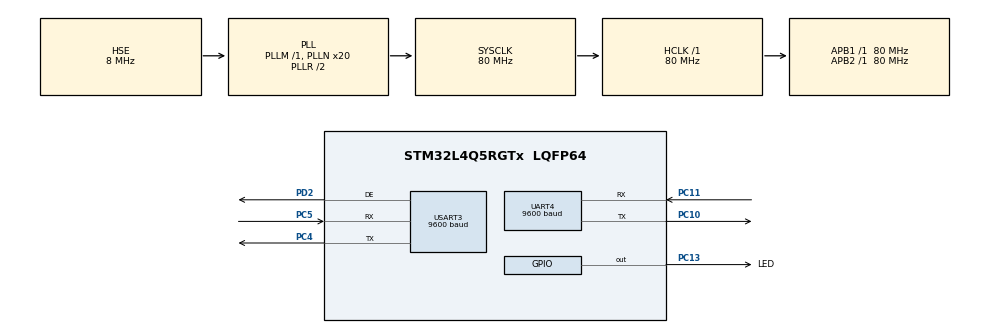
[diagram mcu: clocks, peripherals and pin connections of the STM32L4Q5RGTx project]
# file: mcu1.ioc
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Mcu.Family=STM32L4
Mcu.Name=STM32L4Q5RGTx
Mcu.Package=LQFP64
NVIC.PriorityGroup=NVIC_PRIORITYGROUP_4
NVIC.UART4_IRQn=true\:0\:0\:false\:false\:true\:true\:true\:true
NVIC.USART3_IRQn=true\:0\:0\:false\:false\:true\:true\:true\:true
PA13\ (JTMS/SWDIO).Mode=Serial_Wire
PA13\ (JTMS/SWDIO).Signal=SYS_JTMS-SWDIO
PA14\ (JTCK/SWCLK).Mode=Serial_Wire
PA14\ (JTCK/SWCLK).Signal=SYS_JTCK-SWCLK
PC10.GPIO_PuPd=GPIO_PULLUP
PC10.Mode=Asynchronous
PC10.Signal=UART4_TX
PC11.GPIO_PuPd=GPIO_PULLDOWN
PC11.Mode=Asynchronous
PC11.Signal=UART4_RX
PC13.GPIO_Label=LED
PC13.PinState=GPIO_PIN_SET
PC13.Signal=GPIO_Output
PC4.GPIO_PuPd=GPIO_PULLUP
PC4.Mode=Asynchronous
PC4.Signal=USART3_TX
PC5.GPIO_PuPd=GPIO_PULLUP
PC5.Mode=Asynchronous
PC5.Signal=USART3_RX
PD2.Mode=Hardware Flow Control (RS485)
PD2.Signal=USART3_DE
PH0-OSC_IN\ (PH0).Mode=HSE-External-Oscillator
PH0-OSC_IN\ (PH0).Signal=RCC_OSC_IN
PH1-OSC_OUT\ (PH1).Mode=HSE-External-Oscillator
PH1-OSC_OUT\ (PH1).Signal=RCC_OSC_OUT
ProjectManager.HeapSize=0x200
ProjectManager.StackSize=0x400
ProjectManager.TargetToolchain=STM32CubeIDE
RCC.ADCFreq_Value=32000000
RCC.AHBFreq_Value=80000000
RCC.APB1Freq_Value=80000000
RCC.APB1TimFreq_Value=80000000
RCC.APB2Freq_Value=80000000
RCC.APB2TimFreq_Value=80000000
RCC.CortexFreq_Value=80000000
RCC.EnbaleCSS=true
RCC.HCLKFreq_Value=80000000
RCC.HSE_VALUE=8000000
RCC.HSI48_VALUE=48000000
RCC.HSI_VALUE=16000000
RCC.LSE_VALUE=32768
RCC.MSI_VALUE=4000000
RCC.PLLN=20
RCC.PLLSourceVirtual=RCC_PLLSOURCE_HSE
RCC.SYSCLKFreq_VALUE=80000000
RCC.SYSCLKSource=RCC_SYSCLKSOURCE_PLLCLK
RCC.USBFreq_Value=32000000
RCC.VCOOutputFreq_Value=160000000
UART4.BaudRate=9600
UART4.SwapParam=UART_ADVFEATURE_SWAP_ENABLE
USART3.BaudRate=9600
USART3.VirtualMode-Asynchronous=VM_ASYNC
USART3.VirtualMode-Hardware\ Flow\ Control\ (RS485)=VM_ASYNC
board=custom

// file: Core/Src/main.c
/* USER CODE BEGIN Header */
/**
  ******************************************************************************
  * @file           : main.c
  * @brief          : Main program body
  ******************************************************************************
  * @attention
  *
  * Copyright (c) 2025 STMicroelectronics.
  * All rights reserved.
  *
  * This software is licensed under terms that can be found in the LICENSE file
  * in the root directory of this software component.
  * If no LICENSE file comes with this software, it is provided AS-IS.
  *
  ******************************************************************************
  */
/* USER CODE END Header */
#include "main.h"

/* USER CODE BEGIN Includes */
#include <string.h>
#include <stdlib.h>
#include <stdio.h>
#define L
/* USER CODE END Includes */

UART_HandleTypeDef huart4;
UART_HandleTypeDef huart3;

/* USER CODE BEGIN PV */
volatile uint8_t uart4_data_ready = 0;
volatile uint8_t uart3_cmd_ready = 0;
/* USER CODE END PV */

void SystemClock_Config(void);
static void MX_GPIO_Init(void);
static void MX_UART4_Init(void);
static void MX_USART3_UART_Init(void);

/* USER CODE BEGIN 0 */
void HAL_UART_RxCpltCallback(UART_HandleTypeDef *huart) {
	if (huart == &huart3) {
	        uart3_cmd_ready = 1;
	        HAL_GPIO_TogglePin(LED_GPIO_Port, LED_Pin);
	    }
	else if (huart == &huart4) {
        uart4_data_ready = 1;
        //HAL_GPIO_TogglePin(LED_GPIO_Port, LED_Pin);
    }

}
/* USER CODE END 0 */

int main(void)
{

  /* MCU Configuration--------------------------------------------------------*/

  /* Reset of all peripherals, Initializes the Flash interface and the Systick. */
  HAL_Init();

  /* Configure the system clock */
  SystemClock_Config();

  /* Initialize all configured peripherals */
  MX_GPIO_Init();
  MX_UART4_Init();
  MX_USART3_UART_Init();

  /* Infinite loop */
  /* USER CODE BEGIN WHILE */
#ifdef L
  char str[100] = {0};
  uint8_t size = 0;
  uint8_t cmd = 0;
  const uint8_t cmdSize = 1;
  HAL_UART_Receive_IT(&huart4, &size, 1);
  HAL_UART_Receive_IT(&huart3, &cmd, cmdSize);
#endif
  while (1)
  {
#ifdef L
	  if(uart4_data_ready)
	  {
		  uart4_data_ready = 0;

		  HAL_UART_Receive(&huart4, (uint8_t*)str, size, 100);
		  HAL_UART_Transmit_IT(&huart3, (uint8_t*)str, size);
		  HAL_UART_Receive_IT(&huart4, &size, 1);
	  }
	  if(uart3_cmd_ready)
	  {
		  uart3_cmd_ready = 0;
		  HAL_UART_Transmit_IT(&huart4, &cmd, cmdSize);
		  HAL_UART_Receive_IT(&huart3, &cmd, cmdSize);
	  }
#endif
    /* USER CODE END WHILE */

  }
}

void SystemClock_Config(void)
{
  RCC_OscInitTypeDef RCC_OscInitStruct = {0};
  RCC_ClkInitTypeDef RCC_ClkInitStruct = {0};

  /** Configure the main internal regulator output voltage
  */
  if (HAL_PWREx_ControlVoltageScaling(PWR_REGULATOR_VOLTAGE_SCALE1) != HAL_OK)
  {
    Error_Handler();
  }

  /** Initializes the RCC Oscillators according to the specified parameters
  * in the RCC_OscInitTypeDef structure.
  */
  RCC_OscInitStruct.OscillatorType = RCC_OSCILLATORTYPE_HSE;
  RCC_OscInitStruct.HSEState = RCC_HSE_ON;
  RCC_OscInitStruct.PLL.PLLState = RCC_PLL_ON;
  RCC_OscInitStruct.PLL.PLLSource = RCC_PLLSOURCE_HSE;
  RCC_OscInitStruct.PLL.PLLM = 1;
  RCC_OscInitStruct.PLL.PLLN = 20;
  RCC_OscInitStruct.PLL.PLLP = RCC_PLLP_DIV2;
  RCC_OscInitStruct.PLL.PLLQ = RCC_PLLQ_DIV2;
  RCC_OscInitStruct.PLL.PLLR = RCC_PLLR_DIV2;
  if (HAL_RCC_OscConfig(&RCC_OscInitStruct) != HAL_OK)
  {
    Error_Handler();
  }

  /** Initializes the CPU, AHB and APB buses clocks
  */
  RCC_ClkInitStruct.ClockType = RCC_CLOCKTYPE_HCLK|RCC_CLOCKTYPE_SYSCLK
                              |RCC_CLOCKTYPE_PCLK1|RCC_CLOCKTYPE_PCLK2;
  RCC_ClkInitStruct.SYSCLKSource = RCC_SYSCLKSOURCE_PLLCLK;
  RCC_ClkInitStruct.AHBCLKDivider = RCC_SYSCLK_DIV1;
  RCC_ClkInitStruct.APB1CLKDivider = RCC_HCLK_DIV1;
  RCC_ClkInitStruct.APB2CLKDivider = RCC_HCLK_DIV1;

  if (HAL_RCC_ClockConfig(&RCC_ClkInitStruct, FLASH_LATENCY_3) != HAL_OK)
  {
    Error_Handler();
  }

  /** Enables the Clock Security System
  */
  HAL_RCC_EnableCSS();
}

static void MX_UART4_Init(void)
{

  huart4.Instance = UART4;
  huart4.Init.BaudRate = 9600;
  huart4.Init.WordLength = UART_WORDLENGTH_8B;
  huart4.Init.StopBits = UART_STOPBITS_1;
  huart4.Init.Parity = UART_PARITY_NONE;
  huart4.Init.Mode = UART_MODE_TX_RX;
  huart4.Init.HwFlowCtl = UART_HWCONTROL_NONE;
  huart4.Init.OverSampling = UART_OVERSAMPLING_16;
  huart4.Init.OneBitSampling = UART_ONE_BIT_SAMPLE_DISABLE;
  huart4.Init.ClockPrescaler = UART_PRESCALER_DIV1;
  huart4.AdvancedInit.AdvFeatureInit = UART_ADVFEATURE_SWAP_INIT;
  huart4.AdvancedInit.Swap = UART_ADVFEATURE_SWAP_ENABLE;
  if (HAL_UART_Init(&huart4) != HAL_OK)
  {
    Error_Handler();
  }
  if (HAL_UARTEx_SetTxFifoThreshold(&huart4, UART_TXFIFO_THRESHOLD_1_8) != HAL_OK)
  {
    Error_Handler();
  }
  if (HAL_UARTEx_SetRxFifoThreshold(&huart4, UART_RXFIFO_THRESHOLD_1_8) != HAL_OK)
  {
    Error_Handler();
  }
  if (HAL_UARTEx_DisableFifoMode(&huart4) != HAL_OK)
  {
    Error_Handler();
  }

}

static void MX_USART3_UART_Init(void)
{

  huart3.Instance = USART3;
  huart3.Init.BaudRate = 9600;
  huart3.Init.WordLength = UART_WORDLENGTH_8B;
  huart3.Init.StopBits = UART_STOPBITS_1;
  huart3.Init.Parity = UART_PARITY_NONE;
  huart3.Init.Mode = UART_MODE_TX_RX;
  huart3.Init.HwFlowCtl = UART_HWCONTROL_NONE;
  huart3.Init.OverSampling = UART_OVERSAMPLING_16;
  huart3.Init.OneBitSampling = UART_ONE_BIT_SAMPLE_DISABLE;
  huart3.Init.ClockPrescaler = UART_PRESCALER_DIV1;
  huart3.AdvancedInit.AdvFeatureInit = UART_ADVFEATURE_NO_INIT;
  huart3.FifoMode = UART_FIFOMODE_DISABLE;
  if (HAL_RS485Ex_Init(&huart3, UART_DE_POLARITY_HIGH, 0, 0) != HAL_OK)
  {
    Error_Handler();
  }
  if (HAL_UARTEx_SetTxFifoThreshold(&huart3, UART_TXFIFO_THRESHOLD_1_8) != HAL_OK)
  {
    Error_Handler();
  }
  if (HAL_UARTEx_SetRxFifoThreshold(&huart3, UART_RXFIFO_THRESHOLD_1_8) != HAL_OK)
  {
    Error_Handler();
  }
  if (HAL_UARTEx_DisableFifoMode(&huart3) != HAL_OK)
  {
    Error_Handler();
  }

}

static void MX_GPIO_Init(void)
{
  GPIO_InitTypeDef GPIO_InitStruct = {0};

  /* GPIO Ports Clock Enable */
  __HAL_RCC_GPIOC_CLK_ENABLE();
  __HAL_RCC_GPIOH_CLK_ENABLE();
  __HAL_RCC_GPIOA_CLK_ENABLE();
  __HAL_RCC_GPIOD_CLK_ENABLE();

  /*Configure GPIO pin Output Level */
  HAL_GPIO_WritePin(LED_GPIO_Port, LED_Pin, GPIO_PIN_SET);

  /*Configure GPIO pin : LED_Pin */
  GPIO_InitStruct.Pin = LED_Pin;
  GPIO_InitStruct.Mode = GPIO_MODE_OUTPUT_PP;
  GPIO_InitStruct.Pull = GPIO_NOPULL;
  GPIO_InitStruct.Speed = GPIO_SPEED_FREQ_LOW;
  HAL_GPIO_Init(LED_GPIO_Port, &GPIO_InitStruct);

}

void Error_Handler(void)
{
  __disable_irq();
  while (1)
  {
  }
}
